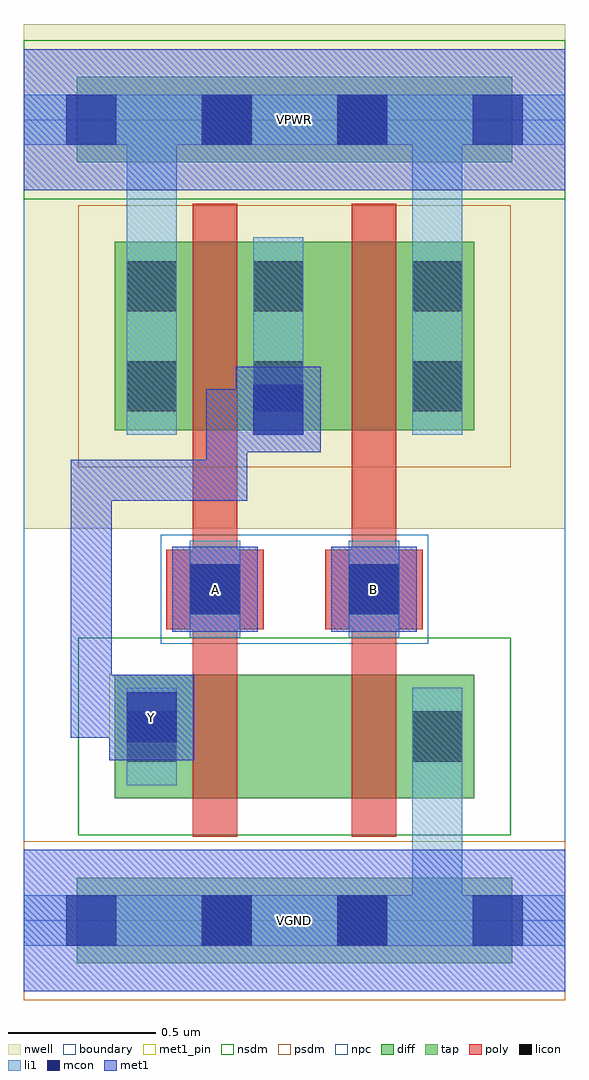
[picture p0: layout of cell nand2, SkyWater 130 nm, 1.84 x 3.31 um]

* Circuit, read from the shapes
.subckt nand2 A B VGND VPWR Y
XM1 n1 A Y VGND sky130_fd_pr__nfet_01v8 w=0.42 l=0.15
XM2 VGND B n1 VGND sky130_fd_pr__nfet_01v8 w=0.42 l=0.15
XM3 Y A VPWR VPWR sky130_fd_pr__pfet_01v8 w=0.64 l=0.15
XM4 VPWR B Y VPWR sky130_fd_pr__pfet_01v8 w=0.64 l=0.15
.ends

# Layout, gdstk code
import gdstk
lib = gdstk.Library(unit=1e-6, precision=1e-09)
def R(c, l, rs):  # rectangles x0, y0, x1, y1
    for r in rs: c.add(gdstk.rectangle(r[:2], r[2:], *l))
def A(c, l, x, y, w, h, nx, ny, dx, dy):  # array of equal rectangles
    R(c, l, [(x+i*dx, y+j*dy, x+i*dx+w, y+j*dy+h) for i in range(nx) for j in range(ny)])
nwell = (64, 20)
diff = (65, 20)
tap = (65, 44)
poly = (66, 20)
licon = (66, 44)
li1 = (67, 20)
mcon = (67, 44)
met1_pin = (68, 16)
met1 = (68, 20)
nsdm = (93, 44)
psdm = (94, 20)
npc = (95, 20)
boundary = (235, 4)

nand2 = lib.new_cell('nand2')
R(nand2, nwell, [(0,1.33,1.84,3.045)])
R(nand2, diff, [(0.31,0.415,1.53,0.835), (0.31,1.665,1.53,2.305)])
R(nand2, tap, [(0.18,-0.145,1.66,0.145), (0.18,2.575,1.66,2.865)])
R(nand2, poly, [(0.575,0.285,0.725,2.435), (1.115,0.285,1.265,2.435), (0.485,0.99,0.815,1.26), (1.025,0.99,1.355,1.26)])
R(nand2, licon, [(0.605,-0.085,0.775,0.085), (1.065,-0.085,1.235,0.085), (0.35,0.54,0.52,0.71), (1.32,0.54,1.49,0.71), (0.565,1.04,0.735,1.21), (1.105,1.04,1.275,1.21), (0.35,1.73,0.52,1.9), (0.78,1.73,0.95,1.9), (1.32,1.73,1.49,1.9), (0.35,2.07,0.52,2.24), (0.78,2.07,0.95,2.24), (1.32,2.07,1.49,2.24), (0.605,2.635,0.775,2.805), (1.065,2.635,1.235,2.805)])
R(nand2, li1, [(0,-0.085,1.84,0.085), (1.32,-0.085,1.49,0.79), (0.35,0.46,0.52,0.79), (1.32,0.46,1.49,0.79), (0.565,0.96,0.735,1.29), (1.105,0.96,1.275,1.29), (0.35,1.65,0.52,2.32), (0.35,1.65,0.52,2.805), (0.78,1.65,0.95,2.32), (1.32,1.65,1.49,2.32), (1.32,1.65,1.49,2.805), (0,2.635,1.84,2.805)])
A(nand2, mcon, 0.145, -0.085, 0.17, 0.17, 4, 2, 0.46, 2.72)
R(nand2, mcon, [(0.35,0.605,0.52,0.775), (0.565,1.04,0.735,1.21), (1.105,1.04,1.275,1.21), (0.78,1.65,0.95,1.82)])
R(nand2, met1_pin, [(0,-0.24,1.84,0.24), (0.29,0.545,0.58,0.835), (0.505,0.98,0.795,1.27), (1.045,0.98,1.335,1.27), (0,2.48,1.84,2.96)])
R(nand2, met1, [(0,-0.24,1.84,0.24), (0.29,0.545,0.58,0.835), (0.16,0.62,0.415,0.76), (0.16,0.62,0.3,1.565), (0.275,0.62,0.505,0.76), (0.505,0.98,0.795,1.27), (1.045,0.98,1.335,1.27), (0.16,1.425,0.76,1.565), (0.62,1.425,0.76,1.68), (0.62,1.54,0.76,1.805), (0.72,1.59,1.01,1.88), (0.62,1.665,0.935,1.805), (0,2.48,1.84,2.96)])
R(nand2, nsdm, [(0.185,0.29,1.655,0.96), (0,2.45,1.84,2.99)])
R(nand2, psdm, [(0,-0.27,1.84,0.27), (0.185,1.54,1.655,2.43)])
R(nand2, npc, [(0.465,0.94,1.375,1.31)])
R(nand2, boundary, [(0,0,1.84,2.72)])
nand2.add(gdstk.Label('A', (0.65,1.125), layer=68, texttype=5))
nand2.add(gdstk.Label('B', (1.19,1.125), layer=68, texttype=5))
nand2.add(gdstk.Label('Y', (0.435,0.69), layer=68, texttype=5))
nand2.add(gdstk.Label('VPWR', (0.92,2.72), layer=68, texttype=5))
nand2.add(gdstk.Label('VGND', (0.92,0), layer=68, texttype=5))
nand2.add(gdstk.Label('A', (0.65,1.125), layer=68, texttype=16))
nand2.add(gdstk.Label('B', (1.19,1.125), layer=68, texttype=16))
nand2.add(gdstk.Label('Y', (0.435,0.69), layer=68, texttype=16))
nand2.add(gdstk.Label('VPWR', (0.92,2.72), layer=68, texttype=16))
nand2.add(gdstk.Label('VGND', (0.92,0), layer=68, texttype=16))

lib.write_gds('nand2.gds')
